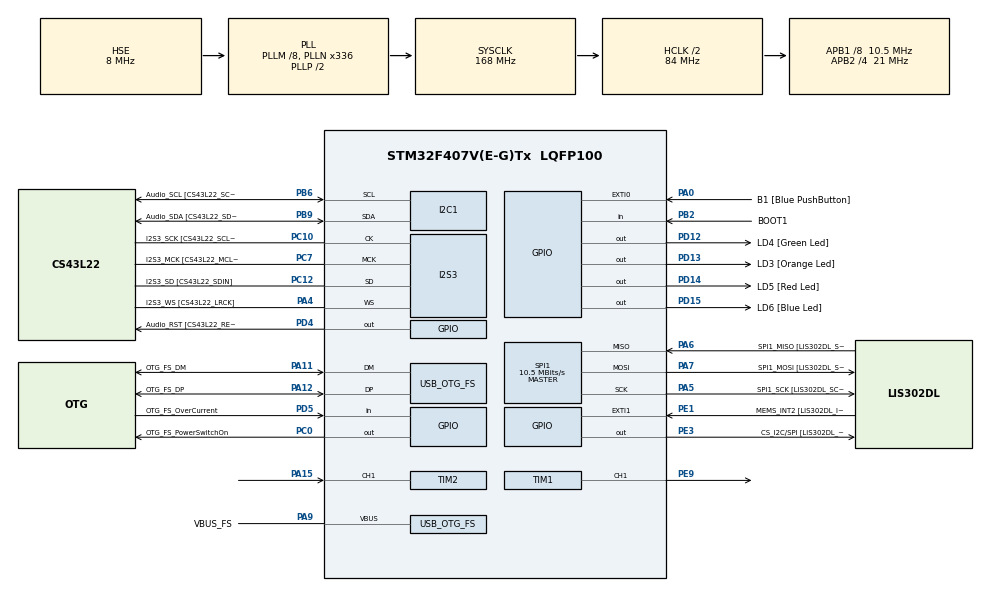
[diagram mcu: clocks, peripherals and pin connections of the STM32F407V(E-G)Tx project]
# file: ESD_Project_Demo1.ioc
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I2S3.AudioFreq-Half_Duplex_Master=I2S_AUDIOFREQ_96K
I2S3.ErrorAudioFreq=-2.34 %
I2S3.ErrorAudioFreq-Half_Duplex_Master=0.8 %
I2S3.FullDuplexMode=I2S_FULLDUPLEXMODE_DISABLE
I2S3.Instance=SPI$Index
I2S3.RealAudioFreq=93.75 KHz
I2S3.RealAudioFreq-Half_Duplex_Master=96.774 KHz
I2S3.VirtualMode=I2S_MODE_MASTER
Mcu.Family=STM32F4
Mcu.Name=STM32F407V(E-G)Tx
Mcu.Package=LQFP100
NVIC.OTG_FS_IRQn=true\:0\:0\:false\:false\:true\:true\:true\:true
NVIC.PriorityGroup=NVIC_PRIORITYGROUP_0
NVIC.TIM2_IRQn=true\:0\:0\:false\:false\:true\:true\:true\:true
PA0-WKUP.GPIO_Label=B1 [Blue PushButton]
PA0-WKUP.GPIO_ModeDefaultEXTI=GPIO_MODE_EVT_RISING
PA0-WKUP.GPIO_PuPd=GPIO_NOPULL
PA0-WKUP.Signal=GPXTI0
PA10.GPIO_Label=OTG_FS_ID
PA10.GPIO_Mode=GPIO_MODE_AF_PP
PA10.GPIO_PuPd=GPIO_NOPULL
PA10.GPIO_Speed=GPIO_SPEED_FREQ_LOW
PA10.Signal=USB_OTG_FS_ID
PA11.GPIO_Label=OTG_FS_DM
PA11.GPIO_Mode=GPIO_MODE_AF_PP
PA11.GPIO_PuPd=GPIO_NOPULL
PA11.GPIO_Speed=GPIO_SPEED_FREQ_LOW
PA11.Mode=Host_Only
PA11.Signal=USB_OTG_FS_DM
PA12.GPIO_Label=OTG_FS_DP
PA12.GPIO_Mode=GPIO_MODE_AF_PP
PA12.GPIO_PuPd=GPIO_NOPULL
PA12.GPIO_Speed=GPIO_SPEED_FREQ_LOW
PA12.Mode=Host_Only
PA12.Signal=USB_OTG_FS_DP
PA13.GPIO_Label=SWDIO
PA13.Mode=Serial_Wire
PA13.Signal=SYS_JTMS-SWDIO
PA14.GPIO_Label=SWCLK
PA14.Mode=Serial_Wire
PA14.Signal=SYS_JTCK-SWCLK
PA15.Signal=S_TIM2_CH1_ETR
PA4.GPIO_Label=I2S3_WS [CS43L22_LRCK]
PA4.GPIO_Mode=GPIO_MODE_AF_PP
PA4.GPIO_PuPd=GPIO_NOPULL
PA4.GPIO_Speed=GPIO_SPEED_FREQ_LOW
PA4.Mode=Half_Duplex_Master
PA4.Signal=I2S3_WS
PA5.GPIO_Label=SPI1_SCK [LIS302DL_SCL/SPC]
PA5.GPIO_Mode=GPIO_MODE_AF_PP
PA5.GPIO_PuPd=GPIO_NOPULL
PA5.GPIO_Speed=GPIO_SPEED_FREQ_LOW
PA5.Mode=Full_Duplex_Master
PA5.Signal=SPI1_SCK
PA6.GPIO_Label=SPI1_MISO [LIS302DL_SDO]
PA6.GPIO_Mode=GPIO_MODE_AF_PP
PA6.GPIO_PuPd=GPIO_NOPULL
PA6.GPIO_Speed=GPIO_SPEED_FREQ_LOW
PA6.Mode=Full_Duplex_Master
PA6.Signal=SPI1_MISO
PA7.GPIO_Label=SPI1_MOSI [LIS302DL_SDA/SDI/SDO]
PA7.GPIO_Mode=GPIO_MODE_AF_PP
PA7.GPIO_PuPd=GPIO_NOPULL
PA7.GPIO_Speed=GPIO_SPEED_FREQ_LOW
PA7.Mode=Full_Duplex_Master
PA7.Signal=SPI1_MOSI
PA9.GPIO_Label=VBUS_FS
PA9.GPIO_Mode=GPIO_MODE_INPUT
PA9.GPIO_PuPd=GPIO_NOPULL
PA9.Mode=Activate_VBUS
PA9.Signal=USB_OTG_FS_VBUS
PB10.GPIO_Label=CLK_IN [MP45DT02_CLK]
PB10.GPIO_Mode=GPIO_MODE_AF_PP
PB10.GPIO_PuPd=GPIO_NOPULL
PB10.GPIO_Speed=GPIO_SPEED_FREQ_LOW
PB10.Signal=I2S2_CK
PB2.GPIO_Label=BOOT1
PB2.GPIO_Mode=GPIO_MODE_INPUT
PB2.GPIO_PuPd=GPIO_NOPULL
PB2.Signal=GPIO_Input
PB3.GPIO_Label=SWO
PB3.Signal=SYS_JTDO-SWO
PB6.GPIO_Label=Audio_SCL [CS43L22_SCL]
PB6.GPIO_Mode=GPIO_MODE_AF_OD
PB6.GPIO_Pu=GPIO_PULLUP
PB6.GPIO_PuPd=GPIO_NOPULL
PB6.GPIO_Speed=GPIO_SPEED_FREQ_LOW
PB6.Mode=I2C
PB6.Signal=I2C1_SCL
PB9.GPIO_Label=Audio_SDA [CS43L22_SDA]
PB9.GPIO_Mode=GPIO_MODE_AF_OD
PB9.GPIO_Pu=GPIO_PULLUP
PB9.GPIO_PuPd=GPIO_NOPULL
PB9.GPIO_Speed=GPIO_SPEED_FREQ_LOW
PB9.Mode=I2C
PB9.Signal=I2C1_SDA
PC0.GPIO_Label=OTG_FS_PowerSwitchOn
PC0.GPIO_PuPd=GPIO_NOPULL
PC0.GPIO_Speed=GPIO_SPEED_FREQ_LOW
PC0.PinState=GPIO_PIN_SET
PC0.Signal=GPIO_Output
PC10.GPIO_Label=I2S3_SCK [CS43L22_SCLK]
PC10.GPIO_Mode=GPIO_MODE_AF_PP
PC10.GPIO_PuPd=GPIO_NOPULL
PC10.GPIO_Speed=GPIO_SPEED_FREQ_LOW
PC10.Mode=Half_Duplex_Master
PC10.Signal=I2S3_CK
PC12.GPIO_Label=I2S3_SD [CS43L22_SDIN]
PC12.GPIO_Mode=GPIO_MODE_AF_PP
PC12.GPIO_PuPd=GPIO_NOPULL
PC12.GPIO_Speed=GPIO_SPEED_FREQ_LOW
PC12.Mode=Half_Duplex_Master
PC12.Signal=I2S3_SD
PC14-OSC32_IN.GPIO_Label=PC14-OSC32_IN
PC14-OSC32_IN.Mode=LSE-External-Oscillator
PC14-OSC32_IN.Signal=RCC_OSC32_IN
PC15-OSC32_OUT.GPIO_Label=PC15-OSC32_OUT
PC15-OSC32_OUT.Mode=LSE-External-Oscillator
PC15-OSC32_OUT.Signal=RCC_OSC32_OUT
PC3.GPIO_Label=PDM_OUT [MP45DT02_DOUT]
PC3.GPIO_Mode=GPIO_MODE_AF_PP
PC3.GPIO_PuPd=GPIO_NOPULL
PC3.GPIO_Speed=GPIO_SPEED_FREQ_LOW
PC3.Signal=I2S2_SD
PC7.GPIO_Label=I2S3_MCK [CS43L22_MCLK]
PC7.GPIO_Mode=GPIO_MODE_AF_PP
PC7.GPIO_PuPd=GPIO_NOPULL
PC7.GPIO_Speed=GPIO_SPEED_FREQ_LOW
PC7.Mode=Master_Clock_Activated
PC7.Signal=I2S3_MCK
PD12.GPIO_Label=LD4 [Green Led]
PD12.GPIO_PuPd=GPIO_NOPULL
PD12.GPIO_Speed=GPIO_SPEED_FREQ_LOW
PD12.Signal=GPIO_Output
PD13.GPIO_Label=LD3 [Orange Led]
PD13.GPIO_PuPd=GPIO_NOPULL
PD13.GPIO_Speed=GPIO_SPEED_FREQ_LOW
PD13.Signal=GPIO_Output
PD14.GPIO_Label=LD5 [Red Led]
PD14.GPIO_PuPd=GPIO_NOPULL
PD14.GPIO_Speed=GPIO_SPEED_FREQ_LOW
PD14.Signal=GPIO_Output
PD15.GPIO_Label=LD6 [Blue Led]
PD15.GPIO_PuPd=GPIO_NOPULL
PD15.GPIO_Speed=GPIO_SPEED_FREQ_LOW
PD15.Signal=GPIO_Output
PD4.GPIO_Label=Audio_RST [CS43L22_RESET]
PD4.GPIO_PuPd=GPIO_NOPULL
PD4.GPIO_Speed=GPIO_SPEED_FREQ_LOW
PD4.Signal=GPIO_Output
PD5.GPIO_Label=OTG_FS_OverCurrent
PD5.GPIO_Mode=GPIO_MODE_INPUT
PD5.GPIO_PuPd=GPIO_NOPULL
PD5.Signal=GPIO_Input
PE1.GPIO_Label=MEMS_INT2 [LIS302DL_INT2]
PE1.GPIO_ModeDefaultEXTI=GPIO_MODE_EVT_RISING
PE1.GPIO_PuPd=GPIO_NOPULL
PE1.Signal=GPXTI1
PE3.GPIO_Label=CS_I2C/SPI [LIS302DL_CS_I2C/SPI]
PE3.GPIO_PuPd=GPIO_NOPULL
PE3.GPIO_Speed=GPIO_SPEED_FREQ_LOW
PE3.Signal=GPIO_Output
PE9.Signal=S_TIM1_CH1
PH0-OSC_IN.GPIO_Label=PH0-OSC_IN
PH0-OSC_IN.Mode=HSE-External-Oscillator
PH0-OSC_IN.Signal=RCC_OSC_IN
PH1-OSC_OUT.GPIO_Label=PH1-OSC_OUT
PH1-OSC_OUT.Mode=HSE-External-Oscillator
PH1-OSC_OUT.Signal=RCC_OSC_OUT
ProjectManager.HeapSize=0x200
ProjectManager.StackSize=0x400
ProjectManager.TargetToolchain=STM32CubeIDE
RCC.48MHZClocksFreq_Value=48000000
RCC.AHBCLKDivider=RCC_SYSCLK_DIV2
RCC.AHBFreq_Value=84000000
RCC.APB1CLKDivider=RCC_HCLK_DIV8
RCC.APB1Freq_Value=10500000
RCC.APB1TimFreq_Value=21000000
RCC.APB2CLKDivider=RCC_HCLK_DIV4
RCC.APB2Freq_Value=21000000
RCC.APB2TimFreq_Value=42000000
RCC.CortexFreq_Value=84000000
RCC.HCLKFreq_Value=84000000
RCC.HSE_VALUE=8000000
RCC.HSI_VALUE=16000000
RCC.PLLM=8
RCC.PLLN=336
RCC.PLLQ=7
RCC.SYSCLKFreq_VALUE=168000000
RCC.SYSCLKSource=RCC_SYSCLKSOURCE_PLLCLK
RCC.VCOOutputFreq_Value=336000000
SH.S_TIM1_CH1.0=TIM1_CH1,PWM Generation1 CH1
SH.S_TIM2_CH1_ETR.0=TIM2_CH1,PWM_Input_1
SPI1.BaudRatePrescaler-Full_Duplex_Master=SPI_BAUDRATEPRESCALER_2
SPI1.CalculateBaudRate=10.5 MBits/s
SPI1.CalculateBaudRate-Full_Duplex_Master=42.0 MBits/s
SPI1.Direction=SPI_DIRECTION_2LINES
SPI1.Mode=SPI_MODE_MASTER
SPI1.Mode-Full_Duplex_Master=SPI_MODE_MASTER
SPI1.VirtualType=VM_MASTER
TIM1.Channel-PWM\ Generation1\ CH1=TIM_CHANNEL_1
TIM1.Period=20
TIM1.Prescaler=420-1
TIM1.Pulse-PWM\ Generation1\ CH1=15
TIM2.Period=20000
TIM2.Prescaler=21-1
USB_HOST.BSP.number=1
USB_HOST.USBH_HandleTypeDef-CDC_FS=hUsbHostFS
USB_HOST.VirtualModeFS=Cdc
USB_HOST0.BSP.STBoard=false
USB_HOST0.BSP.api=Unknown
USB_HOST0.BSP.instance=PC0
USB_HOST0.BSP.ip=GPIO
USB_HOST0.BSP.mode=Output
USB_HOST0.BSP.name=Drive_VBUS_FS
USB_HOST0.BSP.solution=PC0
USB_OTG_FS.VirtualMode=Host_Only
USB_OTG_FS.phy_itface=HCD_PHY_EMBEDDED
VP_TIM1_VS_ClockSourceINT.Mode=Internal
VP_TIM2_VS_ClockSourceINT.Mode=Internal
VP_USB_HOST_VS_USB_HOST_CDC_FS.Mode=CDC_FS
board=STM32F407G-DISC1

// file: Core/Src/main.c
/* USER CODE BEGIN Header */
/**
  ******************************************************************************
  * @file           : main.c
  * @brief          : Main program body
  ******************************************************************************
  * @attention
  *
  * Copyright (c) 2022 STMicroelectronics.
  * All rights reserved.
  *
  * This software is licensed under terms that can be found in the LICENSE file
  * in the root directory of this software component.
  * If no LICENSE file comes with this software, it is provided AS-IS.
  *
  ******************************************************************************
  */
/* USER CODE END Header */
#include "main.h"
#include "usb_host.h"

/* USER CODE BEGIN Includes */
#include "stdbool.h"
/* USER CODE END Includes */

/* USER CODE BEGIN PD */
#define TIM2_CLOCK 21000000
/* USER CODE END PD */

I2C_HandleTypeDef hi2c1;

I2S_HandleTypeDef hi2s3;

SPI_HandleTypeDef hspi1;

TIM_HandleTypeDef htim1;
TIM_HandleTypeDef htim2;

/* USER CODE BEGIN PV */

 uint8_t currentDutyCycle = 0;
 float Frequency = 0;
/* USER CODE END PV */

void SystemClock_Config(void);
static void MX_GPIO_Init(void);
static void MX_I2C1_Init(void);
static void MX_I2S3_Init(void);
static void MX_SPI1_Init(void);
static void MX_TIM1_Init(void);
static void MX_TIM2_Init(void);
void MX_USB_HOST_Process(void);

/* USER CODE BEGIN PFP */
void HAL_TIM_IC_CaptureCallback (TIM_HandleTypeDef * htim);
float GetFrequency(uint32_t TimerCounter, uint32_t TimerPrescaler);
uint8_t GetDutyCycle(uint32_t ONstate, uint32_t period);
/* USER CODE END PFP */

int main(void)
{

  /* MCU Configuration--------------------------------------------------------*/

  /* Reset of all peripherals, Initializes the Flash interface and the Systick. */
  HAL_Init();

  /* Configure the system clock */
  SystemClock_Config();

  /* Initialize all configured peripherals */
  MX_GPIO_Init();
  MX_I2C1_Init();
  MX_I2S3_Init();
  MX_SPI1_Init();
  MX_USB_HOST_Init();
  MX_TIM1_Init();
  MX_TIM2_Init();
  /* USER CODE BEGIN 2 */
HAL_TIM_PWM_Start(&htim1, TIM_CHANNEL_1);
HAL_TIM_IC_Start_IT(&htim2, TIM_CHANNEL_1);
HAL_TIM_IC_Start_IT(&htim2, TIM_CHANNEL_2);

  /* USER CODE END 2 */

  /* Infinite loop */
  while (1)
  {
    MX_USB_HOST_Process();

  }
}

void SystemClock_Config(void)
{
  RCC_OscInitTypeDef RCC_OscInitStruct = {0};
  RCC_ClkInitTypeDef RCC_ClkInitStruct = {0};

  /** Configure the main internal regulator output voltage
  */
  __HAL_RCC_PWR_CLK_ENABLE();
  __HAL_PWR_VOLTAGESCALING_CONFIG(PWR_REGULATOR_VOLTAGE_SCALE1);

  /** Initializes the RCC Oscillators according to the specified parameters
  * in the RCC_OscInitTypeDef structure.
  */
  RCC_OscInitStruct.OscillatorType = RCC_OSCILLATORTYPE_HSE;
  RCC_OscInitStruct.HSEState = RCC_HSE_ON;
  RCC_OscInitStruct.PLL.PLLState = RCC_PLL_ON;
  RCC_OscInitStruct.PLL.PLLSource = RCC_PLLSOURCE_HSE;
  RCC_OscInitStruct.PLL.PLLM = 8;
  RCC_OscInitStruct.PLL.PLLN = 336;
  RCC_OscInitStruct.PLL.PLLP = RCC_PLLP_DIV2;
  RCC_OscInitStruct.PLL.PLLQ = 7;
  if (HAL_RCC_OscConfig(&RCC_OscInitStruct) != HAL_OK)
  {
    Error_Handler();
  }

  /** Initializes the CPU, AHB and APB buses clocks
  */
  RCC_ClkInitStruct.ClockType = RCC_CLOCKTYPE_HCLK|RCC_CLOCKTYPE_SYSCLK
                              |RCC_CLOCKTYPE_PCLK1|RCC_CLOCKTYPE_PCLK2;
  RCC_ClkInitStruct.SYSCLKSource = RCC_SYSCLKSOURCE_PLLCLK;
  RCC_ClkInitStruct.AHBCLKDivider = RCC_SYSCLK_DIV2;
  RCC_ClkInitStruct.APB1CLKDivider = RCC_HCLK_DIV8;
  RCC_ClkInitStruct.APB2CLKDivider = RCC_HCLK_DIV4;

  if (HAL_RCC_ClockConfig(&RCC_ClkInitStruct, FLASH_LATENCY_2) != HAL_OK)
  {
    Error_Handler();
  }
}

static void MX_I2C1_Init(void)
{

  hi2c1.Instance = I2C1;
  hi2c1.Init.ClockSpeed = 100000;
  hi2c1.Init.DutyCycle = I2C_DUTYCYCLE_2;
  hi2c1.Init.OwnAddress1 = 0;
  hi2c1.Init.AddressingMode = I2C_ADDRESSINGMODE_7BIT;
  hi2c1.Init.DualAddressMode = I2C_DUALADDRESS_DISABLE;
  hi2c1.Init.OwnAddress2 = 0;
  hi2c1.Init.GeneralCallMode = I2C_GENERALCALL_DISABLE;
  hi2c1.Init.NoStretchMode = I2C_NOSTRETCH_DISABLE;
  if (HAL_I2C_Init(&hi2c1) != HAL_OK)
  {
    Error_Handler();
  }

}

static void MX_I2S3_Init(void)
{

  hi2s3.Instance = SPI3;
  hi2s3.Init.Mode = I2S_MODE_MASTER_TX;
  hi2s3.Init.Standard = I2S_STANDARD_PHILIPS;
  hi2s3.Init.DataFormat = I2S_DATAFORMAT_16B;
  hi2s3.Init.MCLKOutput = I2S_MCLKOUTPUT_ENABLE;
  hi2s3.Init.AudioFreq = I2S_AUDIOFREQ_96K;
  hi2s3.Init.CPOL = I2S_CPOL_LOW;
  hi2s3.Init.ClockSource = I2S_CLOCK_PLL;
  hi2s3.Init.FullDuplexMode = I2S_FULLDUPLEXMODE_DISABLE;
  if (HAL_I2S_Init(&hi2s3) != HAL_OK)
  {
    Error_Handler();
  }

}

static void MX_SPI1_Init(void)
{

  /* SPI1 parameter configuration*/
  hspi1.Instance = SPI1;
  hspi1.Init.Mode = SPI_MODE_MASTER;
  hspi1.Init.Direction = SPI_DIRECTION_2LINES;
  hspi1.Init.DataSize = SPI_DATASIZE_8BIT;
  hspi1.Init.CLKPolarity = SPI_POLARITY_LOW;
  hspi1.Init.CLKPhase = SPI_PHASE_1EDGE;
  hspi1.Init.NSS = SPI_NSS_SOFT;
  hspi1.Init.BaudRatePrescaler = SPI_BAUDRATEPRESCALER_2;
  hspi1.Init.FirstBit = SPI_FIRSTBIT_MSB;
  hspi1.Init.TIMode = SPI_TIMODE_DISABLE;
  hspi1.Init.CRCCalculation = SPI_CRCCALCULATION_DISABLE;
  hspi1.Init.CRCPolynomial = 10;
  if (HAL_SPI_Init(&hspi1) != HAL_OK)
  {
    Error_Handler();
  }

}

static void MX_TIM1_Init(void)
{

  TIM_ClockConfigTypeDef sClockSourceConfig = {0};
  TIM_MasterConfigTypeDef sMasterConfig = {0};
  TIM_OC_InitTypeDef sConfigOC = {0};
  TIM_BreakDeadTimeConfigTypeDef sBreakDeadTimeConfig = {0};

  htim1.Instance = TIM1;
  htim1.Init.Prescaler = 420-1;
  htim1.Init.CounterMode = TIM_COUNTERMODE_UP;
  htim1.Init.Period = 20;
  htim1.Init.ClockDivision = TIM_CLOCKDIVISION_DIV1;
  htim1.Init.RepetitionCounter = 0;
  htim1.Init.AutoReloadPreload = TIM_AUTORELOAD_PRELOAD_DISABLE;
  if (HAL_TIM_Base_Init(&htim1) != HAL_OK)
  {
    Error_Handler();
  }
  sClockSourceConfig.ClockSource = TIM_CLOCKSOURCE_INTERNAL;
  if (HAL_TIM_ConfigClockSource(&htim1, &sClockSourceConfig) != HAL_OK)
  {
    Error_Handler();
  }
  if (HAL_TIM_PWM_Init(&htim1) != HAL_OK)
  {
    Error_Handler();
  }
  sMasterConfig.MasterOutputTrigger = TIM_TRGO_RESET;
  sMasterConfig.MasterSlaveMode = TIM_MASTERSLAVEMODE_DISABLE;
  if (HAL_TIMEx_MasterConfigSynchronization(&htim1, &sMasterConfig) != HAL_OK)
  {
    Error_Handler();
  }
  sConfigOC.OCMode = TIM_OCMODE_PWM1;
  sConfigOC.Pulse = 5;
  sConfigOC.OCPolarity = TIM_OCPOLARITY_HIGH;
  sConfigOC.OCNPolarity = TIM_OCNPOLARITY_HIGH;
  sConfigOC.OCFastMode = TIM_OCFAST_DISABLE;
  sConfigOC.OCIdleState = TIM_OCIDLESTATE_RESET;
  sConfigOC.OCNIdleState = TIM_OCNIDLESTATE_RESET;
  if (HAL_TIM_PWM_ConfigChannel(&htim1, &sConfigOC, TIM_CHANNEL_1) != HAL_OK)
  {
    Error_Handler();
  }
  sBreakDeadTimeConfig.OffStateRunMode = TIM_OSSR_DISABLE;
  sBreakDeadTimeConfig.OffStateIDLEMode = TIM_OSSI_DISABLE;
  sBreakDeadTimeConfig.LockLevel = TIM_LOCKLEVEL_OFF;
  sBreakDeadTimeConfig.DeadTime = 0;
  sBreakDeadTimeConfig.BreakState = TIM_BREAK_DISABLE;
  sBreakDeadTimeConfig.BreakPolarity = TIM_BREAKPOLARITY_HIGH;
  sBreakDeadTimeConfig.AutomaticOutput = TIM_AUTOMATICOUTPUT_DISABLE;
  if (HAL_TIMEx_ConfigBreakDeadTime(&htim1, &sBreakDeadTimeConfig) != HAL_OK)
  {
    Error_Handler();
  }
  HAL_TIM_MspPostInit(&htim1);

}

static void MX_TIM2_Init(void)
{

  TIM_ClockConfigTypeDef sClockSourceConfig = {0};
  TIM_SlaveConfigTypeDef sSlaveConfig = {0};
  TIM_IC_InitTypeDef sConfigIC = {0};
  TIM_MasterConfigTypeDef sMasterConfig = {0};

  htim2.Instance = TIM2;
  htim2.Init.Prescaler = 10-1;
  htim2.Init.CounterMode = TIM_COUNTERMODE_UP;
  htim2.Init.Period = 20000;
  htim2.Init.ClockDivision = TIM_CLOCKDIVISION_DIV1;
  htim2.Init.AutoReloadPreload = TIM_AUTORELOAD_PRELOAD_DISABLE;
  if (HAL_TIM_Base_Init(&htim2) != HAL_OK)
  {
    Error_Handler();
  }
  sClockSourceConfig.ClockSource = TIM_CLOCKSOURCE_INTERNAL;
  if (HAL_TIM_ConfigClockSource(&htim2, &sClockSourceConfig) != HAL_OK)
  {
    Error_Handler();
  }
  if (HAL_TIM_IC_Init(&htim2) != HAL_OK)
  {
    Error_Handler();
  }
  sSlaveConfig.SlaveMode = TIM_SLAVEMODE_RESET;
  sSlaveConfig.InputTrigger = TIM_TS_TI1FP1;
  sSlaveConfig.TriggerPolarity = TIM_INPUTCHANNELPOLARITY_RISING;
  sSlaveConfig.TriggerPrescaler = TIM_ICPSC_DIV1;
  sSlaveConfig.TriggerFilter = 0;
  if (HAL_TIM_SlaveConfigSynchro(&htim2, &sSlaveConfig) != HAL_OK)
  {
    Error_Handler();
  }
  sConfigIC.ICPolarity = TIM_INPUTCHANNELPOLARITY_RISING;
  sConfigIC.ICSelection = TIM_ICSELECTION_DIRECTTI;
  sConfigIC.ICPrescaler = TIM_ICPSC_DIV1;
  sConfigIC.ICFilter = 0;
  if (HAL_TIM_IC_ConfigChannel(&htim2, &sConfigIC, TIM_CHANNEL_1) != HAL_OK)
  {
    Error_Handler();
  }
  sConfigIC.ICPolarity = TIM_INPUTCHANNELPOLARITY_FALLING;
  sConfigIC.ICSelection = TIM_ICSELECTION_INDIRECTTI;
  if (HAL_TIM_IC_ConfigChannel(&htim2, &sConfigIC, TIM_CHANNEL_2) != HAL_OK)
  {
    Error_Handler();
  }
  sMasterConfig.MasterOutputTrigger = TIM_TRGO_RESET;
  sMasterConfig.MasterSlaveMode = TIM_MASTERSLAVEMODE_DISABLE;
  if (HAL_TIMEx_MasterConfigSynchronization(&htim2, &sMasterConfig) != HAL_OK)
  {
    Error_Handler();
  }

}

static void MX_GPIO_Init(void)
{
  GPIO_InitTypeDef GPIO_InitStruct = {0};

  /* GPIO Ports Clock Enable */
  __HAL_RCC_GPIOE_CLK_ENABLE();
  __HAL_RCC_GPIOC_CLK_ENABLE();
  __HAL_RCC_GPIOH_CLK_ENABLE();
  __HAL_RCC_GPIOA_CLK_ENABLE();
  __HAL_RCC_GPIOB_CLK_ENABLE();
  __HAL_RCC_GPIOD_CLK_ENABLE();

  /*Configure GPIO pin Output Level */
  HAL_GPIO_WritePin(CS_I2C_SPI_GPIO_Port, CS_I2C_SPI_Pin, GPIO_PIN_RESET);

  /*Configure GPIO pin Output Level */
  HAL_GPIO_WritePin(OTG_FS_PowerSwitchOn_GPIO_Port, OTG_FS_PowerSwitchOn_Pin, GPIO_PIN_SET);

  /*Configure GPIO pin Output Level */
  HAL_GPIO_WritePin(GPIOD, LD4_Pin|LD3_Pin|LD5_Pin|LD6_Pin
                          |Audio_RST_Pin, GPIO_PIN_RESET);

  /*Configure GPIO pin : CS_I2C_SPI_Pin */
  GPIO_InitStruct.Pin = CS_I2C_SPI_Pin;
  GPIO_InitStruct.Mode = GPIO_MODE_OUTPUT_PP;
  GPIO_InitStruct.Pull = GPIO_NOPULL;
  GPIO_InitStruct.Speed = GPIO_SPEED_FREQ_LOW;
  HAL_GPIO_Init(CS_I2C_SPI_GPIO_Port, &GPIO_InitStruct);

  /*Configure GPIO pin : OTG_FS_PowerSwitchOn_Pin */
  GPIO_InitStruct.Pin = OTG_FS_PowerSwitchOn_Pin;
  GPIO_InitStruct.Mode = GPIO_MODE_OUTPUT_PP;
  GPIO_InitStruct.Pull = GPIO_NOPULL;
  GPIO_InitStruct.Speed = GPIO_SPEED_FREQ_LOW;
  HAL_GPIO_Init(OTG_FS_PowerSwitchOn_GPIO_Port, &GPIO_InitStruct);

  /*Configure GPIO pin : PDM_OUT_Pin */
  GPIO_InitStruct.Pin = PDM_OUT_Pin;
  GPIO_InitStruct.Mode = GPIO_MODE_AF_PP;
  GPIO_InitStruct.Pull = GPIO_NOPULL;
  GPIO_InitStruct.Speed = GPIO_SPEED_FREQ_LOW;
  GPIO_InitStruct.Alternate = GPIO_AF5_SPI2;
  HAL_GPIO_Init(PDM_OUT_GPIO_Port, &GPIO_InitStruct);

  /*Configure GPIO pin : B1_Pin */
  GPIO_InitStruct.Pin = B1_Pin;
  GPIO_InitStruct.Mode = GPIO_MODE_EVT_RISING;
  GPIO_InitStruct.Pull = GPIO_NOPULL;
  HAL_GPIO_Init(B1_GPIO_Port, &GPIO_InitStruct);

  /*Configure GPIO pin : BOOT1_Pin */
  GPIO_InitStruct.Pin = BOOT1_Pin;
  GPIO_InitStruct.Mode = GPIO_MODE_INPUT;
  GPIO_InitStruct.Pull = GPIO_NOPULL;
  HAL_GPIO_Init(BOOT1_GPIO_Port, &GPIO_InitStruct);

  /*Configure GPIO pin : CLK_IN_Pin */
  GPIO_InitStruct.Pin = CLK_IN_Pin;
  GPIO_InitStruct.Mode = GPIO_MODE_AF_PP;
  GPIO_InitStruct.Pull = GPIO_NOPULL;
  GPIO_InitStruct.Speed = GPIO_SPEED_FREQ_LOW;
  GPIO_InitStruct.Alternate = GPIO_AF5_SPI2;
  HAL_GPIO_Init(CLK_IN_GPIO_Port, &GPIO_InitStruct);

  /*Configure GPIO pins : LD4_Pin LD3_Pin LD5_Pin LD6_Pin
                           Audio_RST_Pin */
  GPIO_InitStruct.Pin = LD4_Pin|LD3_Pin|LD5_Pin|LD6_Pin
                          |Audio_RST_Pin;
  GPIO_InitStruct.Mode = GPIO_MODE_OUTPUT_PP;
  GPIO_InitStruct.Pull = GPIO_NOPULL;
  GPIO_InitStruct.Speed = GPIO_SPEED_FREQ_LOW;
  HAL_GPIO_Init(GPIOD, &GPIO_InitStruct);

  /*Configure GPIO pin : OTG_FS_OverCurrent_Pin */
  GPIO_InitStruct.Pin = OTG_FS_OverCurrent_Pin;
  GPIO_InitStruct.Mode = GPIO_MODE_INPUT;
  GPIO_InitStruct.Pull = GPIO_NOPULL;
  HAL_GPIO_Init(OTG_FS_OverCurrent_GPIO_Port, &GPIO_InitStruct);

  /*Configure GPIO pin : MEMS_INT2_Pin */
  GPIO_InitStruct.Pin = MEMS_INT2_Pin;
  GPIO_InitStruct.Mode = GPIO_MODE_EVT_RISING;
  GPIO_InitStruct.Pull = GPIO_NOPULL;
  HAL_GPIO_Init(MEMS_INT2_GPIO_Port, &GPIO_InitStruct);

}

/* USER CODE BEGIN 4 */
void HAL_TIM_IC_CaptureCallback (TIM_HandleTypeDef * htim)
{
static uint32_t buffer1, buffer2;
  if(htim == &htim2)
  {
	  if(htim->Channel == HAL_TIM_ACTIVE_CHANNEL_1) buffer1 = HAL_TIM_ReadCapturedValue(htim, TIM_CHANNEL_1);
	  if(buffer1 != 0 )
	  {
		  buffer2 = HAL_TIM_ReadCapturedValue(htim, TIM_CHANNEL_2);
			  currentDutyCycle = GetDutyCycle(buffer2, buffer1);
			  Frequency = GetFrequency(TIM2->CCR1, htim->Instance->PSC);
	  }

  }

}

/*TODO: RIORGANIZZARE FUNZIONE CALLBACK, FUNZIONE SET UP PERIFERICHE PWM IC , BUTTARE GIU IDEA PER GENERARE SINUSOIDE*/

/* USER CODE END 4 */

void Error_Handler(void)
{
  __disable_irq();
  while (1)
  {
  }
}
